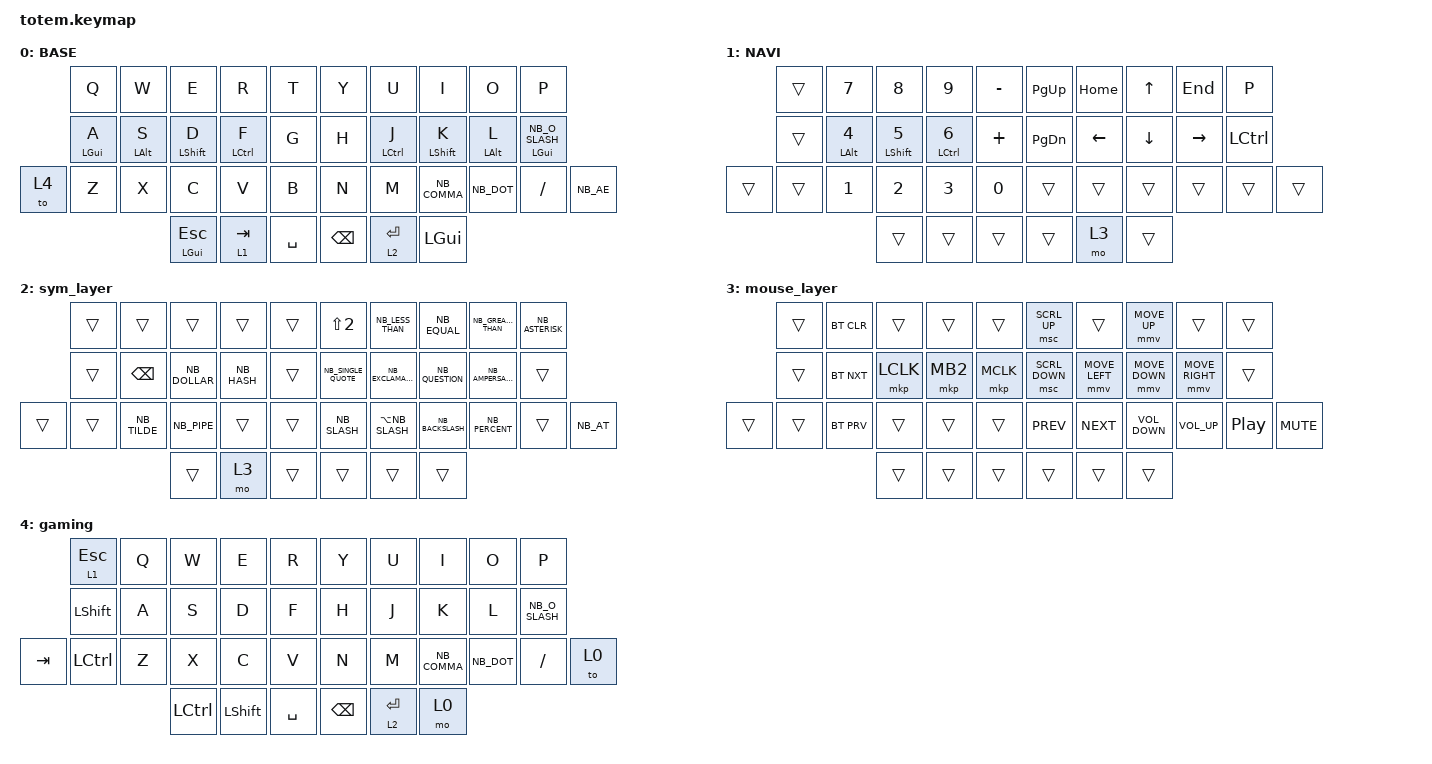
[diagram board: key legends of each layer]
//
//                                                        ▀▀▀▀▀     ▀▀▀▀▀          ▀▀█▀▀
//                                                        ▄▀▀▀▄  ▄  ▄▀▀▀▄  ▄  ▄▀▀▀▄  █  ▄▀▀▀▄
//                                                        █   █  █  █   █  █  █   █  █  █   █
//                                                         ▀▀▀   █   ▀▀▀   █   ▀▀▀   ▀   ▀▀▀
//                                                               █      ▄▄▄█▄▄▄    █   █  
//                                                               ▀      █  █  █     █▄█
//                                                             ▀▀▀▀▀    █  █  █      ▀
//                                                                      ▀  ▀  ▀
//
// ▄▄▄▄▄▄▄▄▄▄▄▄▄▄▄▄▄▄▄▄▄▄▄▄▄▄▄▄▄▄▄▄▄▄▄▄▄▄▄▄▄▄▄▄▄▄▄▄▄▄▄▄▄▄▄▄▄▄▄▄▄▄▄▄▄▄▄▄▄▄▄▄▄▄▄▄▄▄▄▄▄▄▄▄▄▄▄▄▄▄▄▄▄▄▄▄▄▄▄▄▄▄▄▄▄▄▄▄▄▄▄▄▄▄▄▄▄▄▄▄▄▄▄▄▄▄▄▄▄▄▄▄▄▄▄▄▄▄▄▄▄▄▄▄▄▄▄▄▄

#include <behaviors.dtsi>
#include <dt-bindings/zmk/bt.h>
#include <dt-bindings/zmk/keys.h>
#include <dt-bindings/zmk/pointing.h>
#include "keys_nb.h"

#define BASE 0
#define NAV  1
#define SYM  2
#define ADJ  3
#define MOUSE 3
#define GAME 4

&mt {
    quick-tap-ms = <100>;
    global-quick-tap;
    flavor = "tap-preferred";
    tapping-term-ms = <170>;
};

/ {
    combos {
        compatible = "zmk,combos";

        combo_esc {
            timeout-ms = <50>;
            key-positions = <0 1>;
            bindings = <&kp NB_AT>;
        };

        sqbrackets {
            timeout-ms = <50>;
            key-positions = <4 3>;
            bindings = <&kp NB_LEFT_BRACKET>;
        };

        brackets {
            timeout-ms = <50>;
            bindings = <&kp NB_LEFT_PARENTHESIS>;
            key-positions = <13 14>;
        };

        sgbrackets {
            timeout-ms = <50>;
            bindings = <&kp NB_LEFT_BRACE>;
            key-positions = <24 25>;
        };

        sqbrackete {
            timeout-ms = <50>;
            bindings = <&kp NB_RIGHT_BRACKET>;
            key-positions = <5 6>;
        };

        brackete {
            timeout-ms = <50>;
            bindings = <&kp NB_RIGHT_PARENTHESIS>;
            key-positions = <15 16>;
        };

        sgbrackete {
            timeout-ms = <50>;
            bindings = <&kp NB_RIGHT_BRACE>;
            key-positions = <26 27>;
        };

        menu {
            timeout-ms = <50>;
            bindings = <&kp LG(SPACE)>;
            key-positions = <34 35>;
        };

        semi {
            timeout-ms = <50>;
            bindings = <&kp NB_SEMICOLON>;
            key-positions = <27 28>;
        };

        colon {
            timeout-ms = <50>;
            bindings = <&kp NB_COLON>;
            key-positions = <28 29>;
        };

        underline {
            timeout-ms = <50>;
            bindings = <&kp NB_UNDERSCORE>;
            key-positions = <29 30>;
        };

        nb_aa {
            timeout-ms = <50>;
            bindings = <&kp NB_A_RING>;
            key-positions = <19 31>;
        };

        copy {
            bindings = <&kp LC(C)>;
            key-positions = <22 23>;
            layers = <0>;
        };

        paste {
            bindings = <&kp LC(V)>;
            key-positions = <23 24>;
        };
    };

    macros {
        gif: gif {
            label = "giphy";
            compatible = "zmk,behavior-macro";
            #binding-cells = <0>;
            bindings =
                <&macro_press>,
                <&kp LSHFT>,
                <&macro_tap>,
                <&kp N2>,
                <&macro_release>,
                <&kp LSHFT>,
                <&macro_tap>,
                <&kp G &kp I &kp F>;
        };

        mail: mail {
            compatible = "zmk,behavior-macro";
            #binding-cells = <0>;
            bindings = <&none &kp M &kp I &kp K &kp A &kp E &kp L &kp DOT &kp S &kp T &kp A &kp V &kp E &kp AT &kp G &kp M &kp A &kp I &kp L &kp DOT &kp C &kp O &kp M>;
            label = "MAIL";
        };
    };

    keymap {
        compatible = "zmk,keymap";

        // ▄▄▄▄▄▄▄▄▄▄▄▄▄▄▄▄▄▄▄▄▄▄▄▄▄▄▄▄▄▄▄▄▄▄▄▄▄▄▄▄▄▄▄▄▄▄▄▄▄▄▄▄▄▄▄▄▄▄▄▄▄▄▄▄▄▄▄▄▄▄▄▄▄▄▄▄▄▄▄▄▄▄▄▄▄▄▄▄▄▄▄▄▄▄▄▄▄▄▄▄▄▄▄▄▄▄▄▄▄▄▄▄▄▄▄▄▄▄▄▄▄▄▄▄▄▄▄▄▄▄▄▄▄▄▄▄▄▄▄▄▄▄▄▄▄▄▄▄▄

        base_layer {
            // ┏━━━━━━━━━━━━━━━━━━━━━━━━━━━━━━━━━━━━━━━┓

            label = "BASE";

            // ┗━━━━━━━━━━━━━━━━━━━━━━━━━━━━━━━━━━━━━━━┛
            //             ┏━━━━━━━━━━━┳━━━━━━━━━━━┳━━━━━━━━━━━┳━━━━━━━━━━━┳━━━━━━━━━━━┓   ┏━━━━━━━━━━━┳━━━━━━━━━━━┳━━━━━━━━━━━┳━━━━━━━━━━━┳━━━━━━━━━━━┓
            //             ┃     Q     ┃     W     ┃     F     ┃     P     ┃     G     ┃   ┃     J     ┃     L     ┃     U     ┃     Y     ┃     ;     ┃
            //             ┣━━━━━━━━━━━╋━━━━━━━━━━━╋━━━━━━━━━━━╋━━━━━━━━━━━╋━━━━━━━━━━━┫   ┣━━━━━━━━━━━╋━━━━━━━━━━━╋━━━━━━━━━━━╋━━━━━━━━━━━╋━━━━━━━━━━━┫
            //             ┃     A     ┃     R     ┃     S     ┃     T     ┃     D     ┃   ┃     H     ┃     N     ┃     E     ┃     I     ┃     O     ┃
            // ┏━━━━━━━━━━━╋━━━━━━━━━━━╋━━━━━━━━━━━╋━━━━━━━━━━━╋━━━━━━━━━━━╋━━━━━━━━━━━┫   ┣━━━━━━━━━━━╋━━━━━━━━━━━╋━━━━━━━━━━━╋━━━━━━━━━━━╋━━━━━━━━━━━╋━━━━━━━━━━━┓
            // ┃     Q     ┃     Z     ┃     X     ┃     C     ┃     V     ┃     B     ┃   ┃     K     ┃     M     ┃     ,     ┃     .     ┃     /     ┃     \     ┃
            // ┗━━━━━━━━━━━┻━━━━━━━━━━━┻━━━━━━━━━━━╋━━━━━━━━━━━╋━━━━━━━━━━━╋━━━━━━━━━━━┫   ┣━━━━━━━━━━━╋━━━━━━━━━━━╋━━━━━━━━━━━╋━━━━━━━━━━━┻━━━━━━━━━━━┻━━━━━━━━━━━┛
            //                                     ┃    DEL    ┃    TAB    ┃    SPC    ┃   ┃   ENTER   ┃           ┃   BSPC    ┃
            //                                     ┗━━━━━━━━━━━┻━━━━━━━━━━━┻━━━━━━━━━━━┛   ┗━━━━━━━━━━━┻━━━━━━━━━━━┻━━━━━━━━━━━┛

            bindings = <
       &kp Q       &kp W       &kp E             &kp R               &kp T        &kp Y          &kp U               &kp I             &kp O           &kp P
       &mt LGUI A  &mt LALT S  &mt LEFT_SHIFT D  &mt LEFT_CONTROL F  &kp G        &kp H          &mt LEFT_CONTROL J  &mt LEFT_SHIFT K  &mt LEFT_ALT L  &mt LEFT_GUI NB_O_SLASH
&to 4  &kp Z       &kp X       &kp C             &kp V               &kp B        &kp N          &kp M               &kp NB_COMMA      &kp NB_DOT      &kp FSLH                 &kp NB_AE
                               &mt LGUI ESC      &lt 1 TAB           &kp SPACE    &kp BACKSPACE  &lt 2 ENTER         &kp LEFT_GUI
            >;
        };

        // ▄▄▄▄▄▄▄▄▄▄▄▄▄▄▄▄▄▄▄▄▄▄▄▄▄▄▄▄▄▄▄▄▄▄▄▄▄▄▄▄▄▄▄▄▄▄▄▄▄▄▄▄▄▄▄▄▄▄▄▄▄▄▄▄▄▄▄▄▄▄▄▄▄▄▄▄▄▄▄▄▄▄▄▄▄▄▄▄▄▄▄▄▄▄▄▄▄▄▄▄▄▄▄▄▄▄▄▄▄▄▄▄▄▄▄▄▄▄▄▄▄▄▄▄▄▄▄▄▄▄▄▄▄▄▄▄▄▄▄▄▄▄▄▄▄▄▄▄▄

        nav_layer {
            // ┏━━━━━━━━━━━━━━━━━━━━━━━━━━━━━━━━━━━━━━━┓

            label = "NAVI";

            // ┗━━━━━━━━━━━━━━━━━━━━━━━━━━━━━━━━━━━━━━━┛
            //             ┏━━━━━━━━━━━┳━━━━━━━━━━━┳━━━━━━━━━━━┳━━━━━━━━━━━┳━━━━━━━━━━━┓   ┏━━━━━━━━━━━┳━━━━━━━━━━━┳━━━━━━━━━━━┳━━━━━━━━━━━┳━━━━━━━━━━━┓
            //             ┃           ┃           ┃     UP    ┃           ┃     {     ┃   ┃     }     ┃     7     ┃     8     ┃     9     ┃     +     ┃
            //             ┣━━━━━━━━━━━╋━━━━━━━━━━━╋━━━━━━━━━━━╋━━━━━━━━━━━╋━━━━━━━━━━━┫   ┣━━━━━━━━━━━╋━━━━━━━━━━━╋━━━━━━━━━━━╋━━━━━━━━━━━╋━━━━━━━━━━━┫
            //             ┃   SHIFT   ┃   LEFT    ┃    DOWN   ┃   RIGHT   ┃     [     ┃   ┃     ]     ┃     4     ┃     5     ┃     6     ┃     -     ┃
            // ┏━━━━━━━━━━━╋━━━━━━━━━━━╋━━━━━━━━━━━╋━━━━━━━━━━━╋━━━━━━━━━━━╋━━━━━━━━━━━┫   ┣━━━━━━━━━━━╋━━━━━━━━━━━╋━━━━━━━━━━━╋━━━━━━━━━━━╋━━━━━━━━━━━╋━━━━━━━━━━━┓
            // ┃           ┃           ┃   P UP    ┃  C LOCK   ┃  P DOWN   ┃     (     ┃   ┃     )     ┃     1     ┃     2     ┃     3     ┃     *     ┃           ┃
            // ┗━━━━━━━━━━━┻━━━━━━━━━━━┻━━━━━━━━━━━╋━━━━━━━━━━━╋━━━━━━━━━━━╋━━━━━━━━━━━┫   ┣━━━━━━━━━━━╋━━━━━━━━━━━╋━━━━━━━━━━━╋━━━━━━━━━━━┻━━━━━━━━━━━┻━━━━━━━━━━━┛
            //                                     ┃           ┃    TAB    ┃    SPC    ┃   ┃    DEL    ┃     0     ┃           ┃
            //                                     ┗━━━━━━━━━━━┻━━━━━━━━━━━┻━━━━━━━━━━━┛   ┗━━━━━━━━━━━┻━━━━━━━━━━━┻━━━━━━━━━━━┛

            bindings = <
        &trans  &kp N7                 &kp N8                   &kp N9        &kp MINUS    &kp PG_UP  &kp HOME  &kp UP    &kp END    &kp P
        &trans  &mt LEFT_ALT NUMBER_4  &mt LEFT_SHIFT NUMBER_5  &mt LCTRL N6  &kp PLUS     &kp PG_DN  &kp LEFT  &kp DOWN  &kp RIGHT  &kp LCTRL
&trans  &trans  &kp N1                 &kp N2                   &kp N3        &kp N0       &trans     &trans    &trans    &trans     &trans     &trans
                                       &trans                   &trans        &trans       &trans     &mo 3     &trans
            >;
        };

        // ▄▄▄▄▄▄▄▄▄▄▄▄▄▄▄▄▄▄▄▄▄▄▄▄▄▄▄▄▄▄▄▄▄▄▄▄▄▄▄▄▄▄▄▄▄▄▄▄▄▄▄▄▄▄▄▄▄▄▄▄▄▄▄▄▄▄▄▄▄▄▄▄▄▄▄▄▄▄▄▄▄▄▄▄▄▄▄▄▄▄▄▄▄▄▄▄▄▄▄▄▄▄▄▄▄▄▄▄▄▄▄▄▄▄▄▄▄▄▄▄▄▄▄▄▄▄▄▄▄▄▄▄▄▄▄▄▄▄▄▄▄▄▄▄▄▄▄▄▄
        // ▄▄▄▄▄▄▄▄▄▄▄▄▄▄▄▄▄▄▄▄▄▄▄▄▄▄▄▄▄▄▄▄▄▄▄▄▄▄▄▄▄▄▄▄▄▄▄▄▄▄▄▄▄▄▄▄▄▄▄▄▄▄▄▄▄▄▄▄▄▄▄▄▄▄▄▄▄▄▄▄▄▄▄▄▄▄▄▄▄▄▄▄▄▄▄▄▄▄▄▄▄▄▄▄▄▄▄▄▄▄▄▄▄▄▄▄▄▄▄▄▄▄▄▄▄▄▄▄▄▄▄▄▄▄▄▄▄▄▄▄▄▄▄▄▄▄▄▄▄
        // ▄▄▄▄▄▄▄▄▄▄▄▄▄▄▄▄▄▄▄▄▄▄▄▄▄▄▄▄▄▄▄▄▄▄▄▄▄▄▄▄▄▄▄▄▄▄▄▄▄▄▄▄▄▄▄▄▄▄▄▄▄▄▄▄▄▄▄▄▄▄▄▄▄▄▄▄▄▄▄▄▄▄▄▄▄▄▄▄▄▄▄▄▄▄▄▄▄▄▄▄▄▄▄▄▄▄▄▄▄▄▄▄▄▄▄▄▄▄▄▄▄▄▄▄▄▄▄▄▄▄▄▄▄▄▄▄▄▄▄▄▄▄▄▄▄▄▄▄▄
        // ▄▄▄▄▄▄▄▄▄▄▄▄▄▄▄▄▄▄▄▄▄▄▄▄▄▄▄▄▄▄▄▄▄▄▄▄▄▄▄▄▄▄▄▄▄▄▄▄▄▄▄▄▄▄▄▄▄▄▄▄▄▄▄▄▄▄▄▄▄▄▄▄▄▄▄▄▄▄▄▄▄▄▄▄▄▄▄▄▄▄▄▄▄▄▄▄▄▄▄▄▄▄▄▄▄▄▄▄▄▄▄▄▄▄▄▄▄▄▄▄▄▄▄▄▄▄▄▄▄▄▄▄▄▄▄▄▄▄▄▄▄▄▄▄▄▄▄▄▄

        sym_layer {
            bindings = <
        &trans  &trans        &trans         &trans       &trans    &kp LS(NUMBER_2)     &kp NB_LESS_THAN    &kp NB_EQUAL      &kp NB_GREATER_THAN  &kp NB_ASTERISK
        &trans  &kp BSPC      &kp NB_DOLLAR  &kp NB_HASH  &trans    &kp NB_SINGLE_QUOTE  &kp NB_EXCLAMATION  &kp NB_QUESTION   &kp NB_AMPERSAND     &trans
&trans  &trans  &kp NB_TILDE  &kp NB_PIPE    &trans       &trans    &kp NB_SLASH         &kp LA(NB_SLASH)    &kp NB_BACKSLASH  &kp NB_PERCENT       &trans           &kp NB_AT
                              &trans         &mo 3        &trans    &trans               &trans              &trans
            >;
        };

        mouse_layer {
            bindings = <
        &trans  &bt BT_CLR  &trans     &trans    &trans       &msc SCRL_UP    &trans          &mmv MOVE_UP       &trans           &trans
        &trans  &bt BT_NXT  &mkp LCLK  &mkp MB2  &mkp MCLK    &msc SCRL_DOWN  &mmv MOVE_LEFT  &mmv MOVE_DOWN     &mmv MOVE_RIGHT  &trans
&trans  &trans  &bt BT_PRV  &trans     &trans    &trans       &kp C_PREV      &kp C_NEXT      &kp C_VOLUME_DOWN  &kp C_VOLUME_UP  &kp C_PLAY_PAUSE  &kp K_MUTE
                            &trans     &trans    &trans       &trans          &trans          &trans
            >;
        };

        gaming {
            label = "gaming";
            bindings = <
         &lt 1 ESC       &kp Q  &kp W      &kp E           &kp R        &kp Y          &kp U        &kp I         &kp O       &kp P
         &kp LEFT_SHIFT  &kp A  &kp S      &kp D           &kp F        &kp H          &kp J        &kp K         &kp L       &kp NB_O_SLASH
&kp TAB  &kp LCTRL       &kp Z  &kp X      &kp C           &kp V        &kp N          &kp M        &kp NB_COMMA  &kp NB_DOT  &kp FSLH        &to 0
                                &kp LCTRL  &kp LEFT_SHIFT  &kp SPACE    &kp BACKSPACE  &lt 2 ENTER  &mo 0
            >;
        };
    };
};
